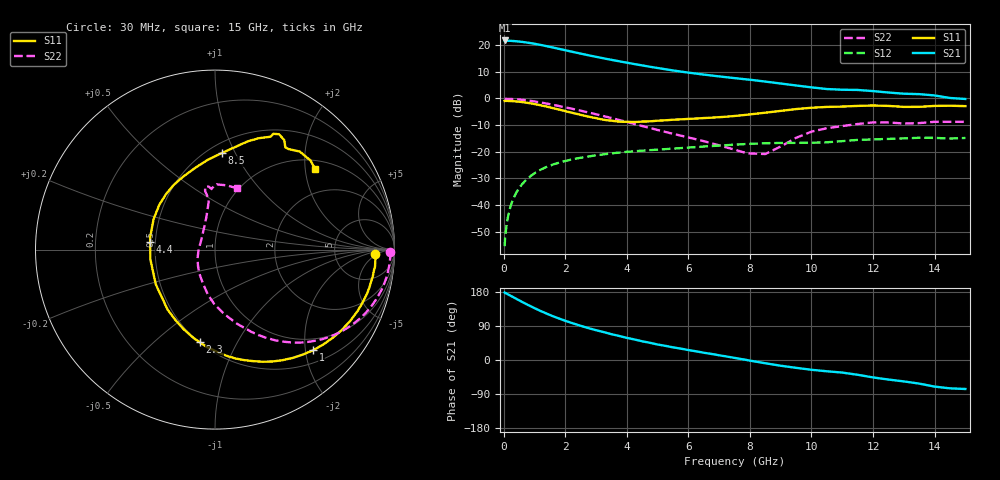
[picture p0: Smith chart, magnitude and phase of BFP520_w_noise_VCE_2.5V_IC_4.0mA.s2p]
! Infineon Technologies  Discrete & RF Semiconductors
! BFP520
! VCE =  2.5 V,  IC =  4.0 mA
! Common Emitter S-Parameters:  Oct 2015
# GHz  S  MA  R  50
!  f  S11  S21  S12  S22
! GHz  MAG  ANG  MAG  ANG  MAG  ANG  MAG  ANG
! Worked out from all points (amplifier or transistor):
!   109 points, 30 MHz to 15 GHz, reference 50 ohm
!   highest |S21| = 21.7 dB at 30 MHz (marker M1)
!   |S21| within 3 dB of that: start of sweep to 1.738 GHz
!   unconditionally stable (mu >= 1): 4.425 GHz to end of sweep
!   at 450 MHz: K = 0.17, MSG = 28.0 dB, |S12| = -34.6 dB
!   at 4 GHz: K = 0.92, MSG = 16.7 dB, |S12| = -20.0 dB
!   at 15 GHz: K = 1.43, MAG = 3.4 dB, |S12| = -14.8 dB
!   lowest NFmin = 1.09 dB at 900 MHz
!   S11 on the Smith chart (normalised r, x): 30 MHz: 17, -4; 1 GHz: 0.74, -2.15; 2.3 GHz: 0.50, -0.72; 4.4 GHz: 0.47, +0.05; 8.5 GHz: 0.58, +0.88; 15 GHz: 1.24, +2.26
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0.03  0.8944 -1.4  12.16 178.0  0.0017 46.9  0.9756 -0.8
0.1  0.8959 -4.7  12 175.0  0.0044 70.3  0.977 -2.8
0.2  0.8918 -9.4  11.98 170.6  0.0085 76.7  0.974 -5.8
0.35  0.8818 -16.3  11.82 164.1  0.0146 77.0  0.9651 -10.2
0.6  0.8519 -27.8  11.43 153.2  0.0247 73.2  0.9388 -17.4
0.8  0.8194 -36.9  10.99 144.8  0.0323 69.4  0.91 -22.9
1  0.7831 -45.8  10.54 136.9  0.0394 65.5  0.8756 -28.1
1.2  0.7426 -54.4  10.03 129.3  0.046 61.7  0.8379 -33.1
1.5  0.6783 -67.1  9.233 118.8  0.0548 56.4  0.7783 -39.9
2  0.5778 -87.3  7.98 103.5  0.0671 48.7  0.6793 -49.7
2.3  0.5231 -99.3  7.303 95.5  0.0733 44.7  0.6236 -54.8
2.6  0.4766 -111.5  6.7 87.8  0.0789 41.0  0.5706 -59.7
3  0.4267 -128.1  6.007 78.6  0.0856 36.7  0.5037 -65.9
3.5  0.3827 -149.5  5.275 68.0  0.0932 31.5  0.4286 -73.7
4.4  0.3638 173.2  4.238 51.3  0.1037 23.3  0.3144 -88.8
5.1  0.3839 150.9  3.627 39.5  0.1105 18.1  0.2473 -100.0
6.1  0.4146 129.5  2.984 24.9  0.1207 11.5  0.1795 -115.4
7.6  0.4733 102.0  2.363 4.2  0.1366 0.8  0.1053 -156.1
8.5  0.5388 86.1  2.063 -8.6  0.1444 -6.6  0.0906 150.7
10.5  0.6914 65.0  1.496 -29.8  0.1503 -18.2  0.2761 97.2
13  0.6919 55.5  1.222 -56.5  0.1778 -36.5  0.3377 93.2
15  0.7155 38.7  0.974 -76.5  0.1812 -51.3  0.3629 70.1
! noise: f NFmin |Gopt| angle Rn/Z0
0.45  1.12  0.53  3  0.34
0.9  1.09  0.51  11  0.35
1.9  1.34  0.42  23  0.3
2.4  1.4  0.38  35  0.29
3.5  1.35  0.36  58  0.27
